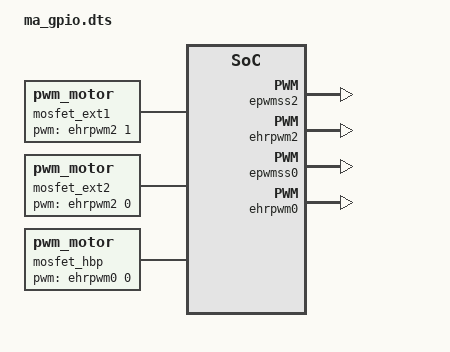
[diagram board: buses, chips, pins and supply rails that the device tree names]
/*  
* Copyright (C) 2012 Texas Instruments Incorporated - http://www.ti.com/
*
* This program is free software; you can redistribute it and/or modify
* it under the terms of the GNU General Purpose License Version 2 as
* published by the Free Software Foundation
*
* Original from: github.com/jadonk/validation-scripts/blob/master/test-capemgr/ 
*
* Modified by Derek Molloy for the example on www.derekmolloy.ie
* that maps GPIO pins for the example
*/

/dts-v1/;
/plugin/;

/{
    compatible = "ti,beaglebone", "ti,beaglebone-black";
    part-number = "MA-GPIO";
    version = "00A0";

    exclusive-use = 
        "P8.11", /* usonic0 trigger */
        "P9.15", /* usonic0 echo */
        "P8.39",
        "P8.40";
/*        "P9.31",  PWM0A, left wheel */
/*        "P9.29";  PWM0B, right wheel */

    fragment@0 {
        target = <&am33xx_pinmux>;
        
        __overlay__ {
            pinctrl_sonic: MA_GPIO_Pins {
	        pinctrl-single,pins = <

			      0x034 0x37  /* P8_11 gpio1[13] 45 OUTPUT MODE7          - sonic trigger */
			      0x040 0x27  /* P9_15 gpio1[12] 44 INPUT  MODE7 pulldown - sonic echo    */
                      
                  0x0b8 0x37  /* P8_39 gpio2[12] motor power */ 
                  0x0bc 0x37  /* P8_40 gpio2[13] motor DIR   */ 

		        >;
	        };
        };
    };

    fragment@1 {
        target = <&ocp>;
        __overlay__ {
			sonic_helper: helper {
				compatible = "bone-pinmux-helper";
    			pinctrl-names = "default";
	    		pinctrl-0 = <&pinctrl_sonic>;
		    	status = "okay";
		    };
   		};
    };

    fragment@2 {
		target = <&am33xx_pinmux>;
		__overlay__ {
			pwm_mosfet_ext1_pins: pinmux_pwm_mosfet_ext1_pins {
				pinctrl-single,pins = < 					0x024  0x4		/* gpmc_ad9  = ehrpwm2B = P8_13 = Heater_ext1 | MODE 4 */ 				>;
			};						
			pwm_mosfet_ext2_pins: pinmux_pwm_mosfet_ext2_pins {
				pinctrl-single,pins = < 					0x020  0x4      /* gpmc_ad8  = ehrpwm2A = P8_19 = Heater_ext2 | MODE 4 */ 				>;
			};						
			pwm_mosfet_hbp_pins: pinmux_pwm_mosfet_hbp_pins {
				pinctrl-single,pins = < 					0x150  0x3		/* spi0_sclk = ehrpwm0A = P9_14 = Heater_HBP  | MODE 3 */ 				>;
			};										
		};
	};


	fragment@3 {
		target = <&epwmss2>;
		__overlay__ {
			status = "okay";
		};
	};

	fragment@4 {
		target = <&ehrpwm2>;
		__overlay__ {			
			status = "okay";			
		};
	};

	fragment@5 {
		target = <&epwmss0>;
		__overlay__ {
			status = "okay";
		};
	};

	fragment@6 {
		target = <&ehrpwm0>;
		__overlay__ {			
			status = "okay";			
		};
	};

    fragment@7 {
		target = <&ocp>;
		__overlay__ {			
/*			#address-cells = ;
			#size-cells = ;
*/
			mosfet_ext1 {
				compatible      = "pwm_motor";
				pinctrl-names   = "default";
				pinctrl-0       = <&pwm_mosfet_ext1_pins>;
				pwms 			= <&ehrpwm2 1 500000 1>;
				pwm-names 		= "Mosfet_Ext_1";
				enabled			= <1>;
				duty			= <0>;
				status 			= "okay";
			};
			mosfet_ext2 {
				compatible      = "pwm_motor";
				pinctrl-names   = "default";
				pinctrl-0       = <&pwm_mosfet_ext2_pins>;
				pwms 			= <&ehrpwm2 0 500000 1>;
				pwm-names 		= "Mosfet_Ext_2";
				enabled			= <1>;
				duty			= <0>;
				status 			= "okay";
			};
			mosfet_hbp {
				compatible      = "pwm_motor";
				pinctrl-names   = "default";
				pinctrl-0       = <&pwm_mosfet_hbp_pins>;
				pwms 			= <&ehrpwm0 0 500000 1>;
				pwm-names 		= "Mosfet_HBP";
				enabled			= <1>;
				duty			= <0>;
				status 			= "okay";
			};
		};
    };
};
